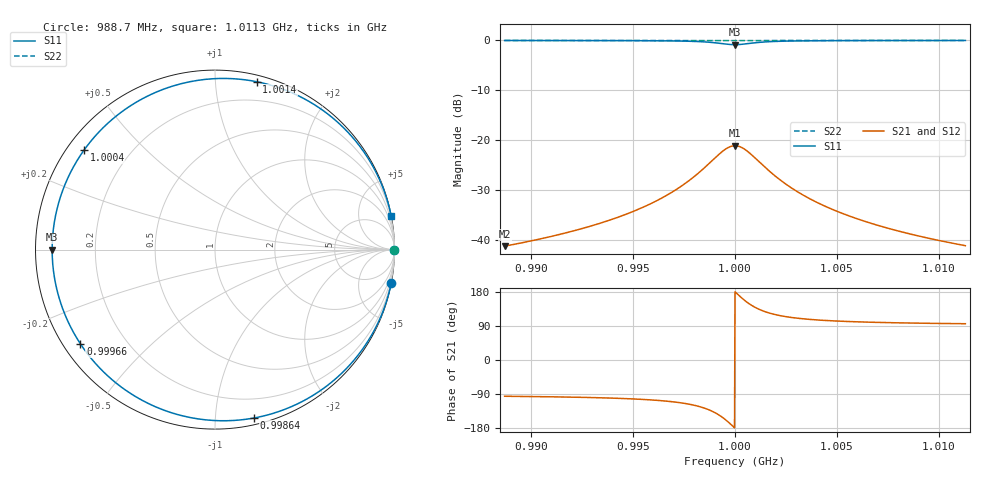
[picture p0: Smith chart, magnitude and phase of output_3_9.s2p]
! File generated for n1 = 3, n2 = 9
! b1 = 21.544347
! b2 = 0.046416
! Q0 = 10000.000000
! f0 = 1000000000.000000
! n = 1001
! rel_span = 10.000000
# Hz S RI R 50
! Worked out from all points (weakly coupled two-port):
!   1001 points, 988.7 MHz to 1.0113 GHz, reference 50 ohm
!   highest |S21| = -21.06 dB at 1 GHz (marker M1); lowest = -41.2 dB at 988.7 MHz (marker M2)
!   lowest |S11| = -0.8 dB at 1 GHz (marker M3), VSWR 20.59, Z = 2.43 + j0 ohm
!   |S11| at or under -10 dB: nowhere
!   |S22| runs from 0.0 to 0.0 dB; largest |S21 - S12| = 0
!   S11 on the Smith chart (normalised r, x): 988.7 MHz: 0, -11; 998.64 MHz: 0.05, -1.26; 999.66 MHz: 0.05, -0.31; 1.0004 GHz: 0.05, +0.34; 1.0014 GHz: 0.05, +1.28; 1.0113 GHz: 0, +10
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9.887046e8  0.9813 -0.1878  -0.000867 -0.00872  -0.000867 -0.00872  1 -0.000405
9.924773e8  0.9583 -0.2791  -0.00194 -0.013  -0.00194 -0.013  0.9999 -0.000601
9.946234e8  0.9198 -0.3828  -0.00372 -0.0178  -0.00372 -0.0178  0.9998 -0.000825
9.962499e8  0.8419 -0.5259  -0.00734 -0.0244  -0.00734 -0.0244  0.9997 -0.00113
9.976957e8  0.6312 -0.7533  -0.0171 -0.035  -0.0171 -0.035  0.9992 -0.00162
9.982153e8  0.4552 -0.8616  -0.0253 -0.04  -0.0253 -0.04  0.9988 -0.00186
9.986446e8  0.2189 -0.9379  -0.0363 -0.0435  -0.0363 -0.0435  0.9983 -0.00202
9.992093e8  -0.2798 -0.8962  -0.0594 -0.0416  -0.0594 -0.0416  0.9972 -0.00193
9.994352e8  -0.5257 -0.7631  -0.0708 -0.0354  -0.0708 -0.0354  0.9967 -0.00164
9.996611e8  -0.7498 -0.525  -0.0812 -0.0244  -0.0812 -0.0244  0.9962 -0.00113
1e9  -0.9074 0  -0.0885 0  -0.0885 0  0.9959 0
1.000181e9  -0.8598 0.2975  -0.0863 0.0138  -0.0863 0.0138  0.996 0.000641
1.000361e9  -0.7302 0.5536  -0.0803 0.0257  -0.0803 0.0257  0.9963 0.00119
1.000565e9  -0.5261 0.7628  -0.0708 0.0354  -0.0708 0.0354  0.9967 0.00164
1.000791e9  -0.2804 0.896  -0.0594 0.0416  -0.0594 0.0416  0.9972 0.00193
1.001039e9  -0.0335 0.9503  -0.048 0.0441  -0.048 0.0441  0.9978 0.00205
1.001378e9  0.2329 0.9353  -0.0356 0.0434  -0.0356 0.0434  0.9983 0.00201
1.001807e9  0.4635 0.8576  -0.0249 0.0398  -0.0249 0.0398  0.9988 0.00185
1.002327e9  0.6356 0.7499  -0.0169 0.0348  -0.0169 0.0348  0.9992 0.00162
1.003773e9  0.8425 0.5249  -0.00731 0.0244  -0.00731 0.0244  0.9997 0.00113
1.007545e9  0.9579 0.2803  -0.00195 0.013  -0.00195 0.013  0.9999 0.000604
1.011295e9  0.9809 0.1899  -0.000886 0.00881  -0.000886 0.00881  1 0.000409
